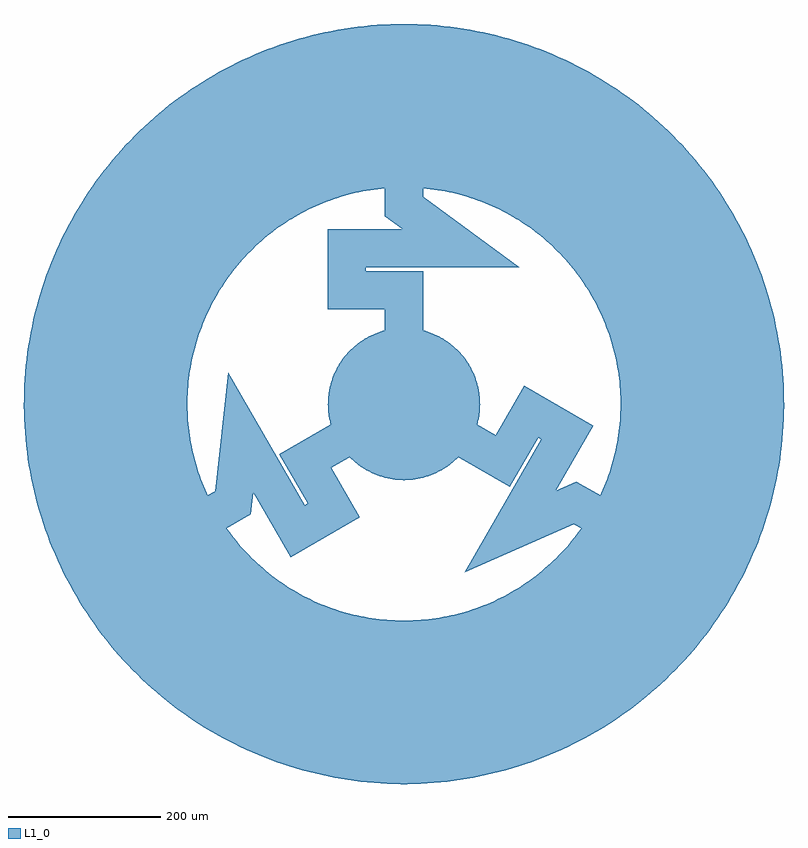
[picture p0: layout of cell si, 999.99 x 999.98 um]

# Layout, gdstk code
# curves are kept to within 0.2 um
import gdstk
lib = gdstk.Library(unit=1e-6, precision=1e-09)
def P(c, l, *ps):  # polygons
    for p in ps: c.add(gdstk.Polygon(p, *l))
L1_0 = (1, 0)

c_si = lib.new_cell('si')
P(c_si, L1_0, [(-0.875,-99.996),(-11.352,-99.354),(-19.992,-97.981),(-30.152,-95.346),(-38.369,-92.346),(-47.838,-87.816),(-56.779,-82.318),(-65.094,-75.913),(-71.48,-69.933),(-77.318,-63.418),(-83.54,-54.964),(-88.024,-47.453),(-92.513,-37.965),(-95.983,-28.059),(-98.068,-19.563),(-99.578,-9.176),(-99.991,1.313),(-99.303,11.786),(-97.521,22.13),(-94.664,32.23),(-91.485,40.38),(-86.748,49.747),(-82.068,57.138),(-75.627,65.426),(-69.62,71.785),(-61.712,78.687),(-54.598,83.78),(-47.067,88.231),(-37.56,92.678),(-27.639,96.105),(-19.133,98.153),(-8.74,99.617),(1.75,99.985),(10.482,99.449),(20.848,97.803),(30.985,95.079),(39.176,92.007),(48.604,87.394),(56.056,82.811),(64.428,76.479),(72.089,69.305),(78.956,61.367),(84.018,54.231),(88.436,46.681),(92.842,37.154),(95.734,28.898),(98.235,18.704),(99.655,8.304),(99.999,-0.438),(99.578,-9.176),(98.068,-19.563),(95.983,-28.059),(92.513,-37.965),(88.024,-47.453),(83.54,-54.964),(77.318,-63.418),(70.245,-71.173),(62.398,-78.144),(55.329,-83.299),(47.838,-87.816),(38.369,-92.346),(28.478,-95.859),(18.274,-98.316),(7.868,-99.69)],
  [(-4.375,-499.981),(-30.609,-499.062),(-56.759,-496.768),(-82.752,-493.105),(-99.958,-489.907),(-125.531,-483.985),(-150.759,-476.73),(-175.57,-468.161),(-199.898,-458.302),(-215.815,-451.025),(-239.188,-439.078),(-261.902,-425.92),(-283.894,-411.588),(-305.103,-396.121),(-325.472,-379.563),(-344.944,-361.959),(-357.4,-349.665),(-375.258,-330.426),(-392.082,-310.277),(-407.826,-289.272),(-417.699,-274.822),(-431.547,-252.522),(-440.12,-237.265),(-451.965,-213.839),(-462.565,-189.825),(-471.89,-165.287),(-479.914,-140.294),(-486.616,-114.914),(-491.976,-89.217),(-494.797,-71.945),(-497.891,-45.878),(-499.612,-19.685),(-499.957,6.563),(-499.421,24.056),(-498.273,41.519),(-495.408,67.612),(-492.738,84.908),(-489.464,102.1),(-485.591,119.168),(-481.124,136.089),(-476.066,152.843),(-470.426,169.41),(-464.209,185.77),(-457.423,201.902),(-450.077,217.786),(-442.179,233.404),(-433.74,248.736),(-424.769,263.763),(-410.814,285),(0,285),(-19.936,284.302),(-34.829,282.864),(-54.53,279.735),(-69.136,276.487),(-83.551,272.478),(-102.406,265.966),(-116.224,260.225),(-134.142,251.458),(-147.154,244.071),(-163.866,233.18),(-175.878,224.259),(-191.134,211.406),(-205.454,197.519),(-215.537,186.464),(-225.026,174.895),(-236.709,158.726),(-244.713,146.085),(-254.332,128.609),(-260.731,115.084),(-268.143,96.564),(-272.841,82.358),(-277.934,63.071),(-281.665,43.475),(-283.558,28.633),(-284.67,13.712),(-284.932,-6.235),(-283.798,-26.15),(-282.034,-41.009),(-278.475,-60.636),(-274.909,-75.168),(-270.585,-89.492),(-263.662,-108.2),(-255.448,-126.378),(-248.463,-139.611),(-238.089,-156.649),(-229.539,-168.928),(-217.161,-184.571),(-207.175,-195.713),(-192.977,-209.726),(-181.704,-219.564),(-165.901,-231.737),(-153.51,-240.124),(-140.696,-247.85),(-123.014,-257.085),(-104.73,-265.06),(-90.675,-270.191),(-71.553,-275.872),(-56.976,-279.247),(-42.242,-281.852),(-22.423,-284.117),(-7.481,-284.902),(12.466,-284.727),(27.392,-283.681),(47.168,-281.07),(66.714,-277.082),(81.164,-273.199),(95.39,-268.563),(113.942,-261.232),(131.936,-252.622),(145.012,-245.35),(157.689,-237.401),(173.909,-225.789),(185.519,-216.351),(200.198,-202.844),(210.568,-192.057),(220.357,-180.742),(229.539,-168.928),(238.089,-156.649),(245.982,-143.937),(253.197,-130.83),(259.714,-117.361),(265.515,-103.569),(270.585,-89.492),(274.909,-75.168),(278.475,-60.636),(281.273,-45.938),(283.297,-31.113),(284.539,-16.202),(284.997,-1.247),(284.67,13.712),(283.558,28.633),(281.665,43.475),(278.995,58.197),(275.556,72.759),(271.358,87.121),(266.412,101.242),(260.731,115.084),(254.332,128.609),(247.232,141.779),(239.45,154.559),(231.009,166.913),(221.931,178.807),(208.879,193.893),(198.416,204.588),(187.405,214.719),(175.878,224.259),(159.76,236.012),(142.86,246.609),(125.259,255.998),(107.045,264.133),(88.307,270.974),(69.136,276.487),(49.626,280.646),(29.873,283.43),(14.957,284.607),(0,285),(-410.814,285),(-394.782,306.834),(-378.135,327.13),(-360.446,346.524),(-348.098,358.926),(-335.323,370.888),(-315.396,387.976),(-301.625,398.776),(-287.485,409.087),(-272.992,418.898),(-258.165,428.195),(-235.337,441.154),(-211.86,452.897),(-195.88,460.034),(-179.66,466.607),(-154.925,475.393),(-138.193,480.523),(-121.291,485.065),(-95.667,490.763),(-78.433,493.81),(-61.104,496.252),(-43.699,498.087),(-26.241,499.311),(0,500),(17.498,499.694),(43.699,498.087),(69.779,495.107),(95.667,490.763),(121.291,485.065),(146.581,478.031),(171.467,469.68),(195.88,460.034),(211.86,452.897),(235.337,441.154),(258.165,428.195),(280.281,414.056),(294.6,403.994),(315.396,387.976),(335.323,370.888),(354.326,352.779),(372.352,333.697),(389.352,313.696),(405.279,292.83),(415.278,278.467),(429.321,256.289),(442.179,233.404),(453.819,209.876),(464.209,185.77),(473.318,161.151),(481.124,136.089),(487.603,110.651),(491.176,93.519),(495.408,67.612),(498.273,41.519),(499.421,24.056),(499.995,-2.188),(499.191,-28.425),(497.012,-54.584),(494.797,-71.945),(490.339,-97.813),(486.616,-114.914),(479.914,-140.294),(471.89,-165.287),(462.565,-189.825),(451.965,-213.839),(440.12,-237.265),(427.061,-260.036),(412.826,-282.09),(402.701,-296.365),(386.592,-317.091),(369.418,-336.943),(351.225,-355.866),(332.065,-373.809),(311.989,-390.721),(291.054,-406.556),(269.316,-421.271),(254.408,-430.438),(231.467,-443.196),(207.888,-454.733),(183.737,-465.017),(159.079,-474.019),(142.392,-479.296),(117.042,-486.108),(91.369,-491.581),(65.444,-495.699),(39.339,-498.45),(13.125,-499.828)])
c_si.add(gdstk.FlexPath([(0,0),(0,150),(-75,150),(-75,205),(75,205),(75,205),(0,260),(0,285)], 50, ends="flush", simple_path=True, layer=1, datatype=0))  # L1_0
c_si.add(gdstk.FlexPath([(0,0),(-129.904,-75),(-92.404,-139.952),(-140.035,-167.452),(-215.035,-37.548),(-215.035,-37.548),(-225.167,-130),(-246.817,-142.5)], 50, ends="flush", simple_path=True, layer=1, datatype=0))  # L1_0
c_si.add(gdstk.FlexPath([(0,0),(129.904,-75),(167.404,-10.048),(215.035,-37.548),(140.035,-167.452),(140.035,-167.452),(225.167,-130),(246.817,-142.5)], 50, ends="flush", simple_path=True, layer=1, datatype=0))  # L1_0

lib.write_gds('si.gds')
